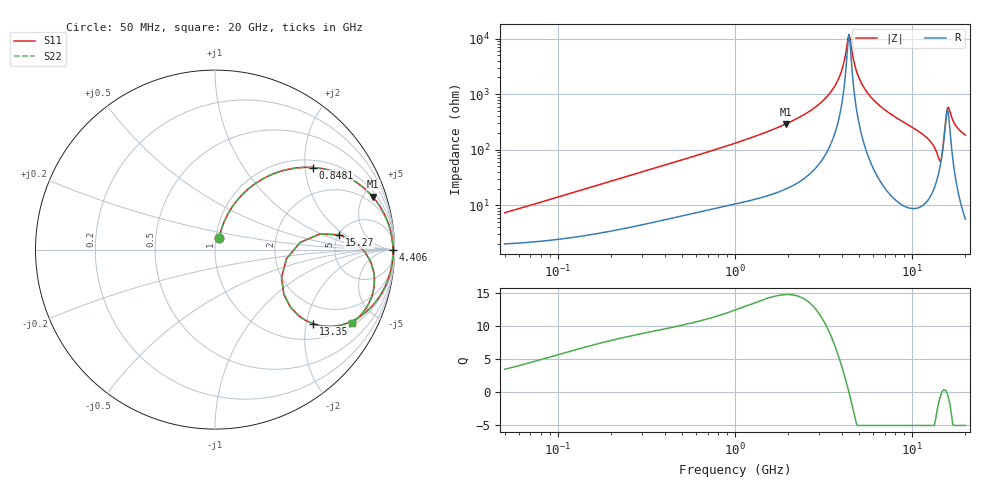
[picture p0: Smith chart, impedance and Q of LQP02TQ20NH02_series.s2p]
!Murata Part Number: LQP02TQ20NH02
!These Parameters are Measured in Series Mode Connection
!  o--[Z]--o
!Port1  Port2
!  o-------o
!Freq. Start=50[MHz] Stop=20[GHz], 401[Steps]
# Hz S RI R 50
!Freq.(Hz) S11(Real) S11(Imag) S21(Real) S21(Imag) S12(Real) S12(Imag) S22(Real) S22(Imag)
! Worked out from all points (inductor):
!   401 points, 50 MHz to 20 GHz, reference 50 ohm
!   read as one part in series: L = 22.3 nH near 51.52 MHz
!   highest Q = 14.8 at 1.933 GHz (marker M1), where L = 23.8 nH
!   self-resonance near 4.34 GHz
!   S11 on the Smith chart (normalised r, x): 50 MHz: 1.04, +0.14; 848.1 MHz: 1.19, +2.20; 4.406 GHz: open; 13.35 GHz: 1.41, -2.19; 15.27 GHz: 5.07, +1.64; 20 GHz: 1.11, -3.67
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5e7  0.0244 0.0673  0.9756 -0.0673  0.9756 -0.0673  0.0244 0.0673
1.364002e8  0.0582 0.1712  0.9418 -0.1712  0.9418 -0.1712  0.0582 0.1712
3.721004e8  0.2184 0.3635  0.7816 -0.3635  0.7816 -0.3635  0.2184 0.3635
8.480927e8  0.5453 0.4573  0.4547 -0.4573  0.4547 -0.4573  0.5453 0.4573
1e9  0.6224 0.4463  0.3776 -0.4463  0.3776 -0.4463  0.6224 0.4463
1.932977e9  0.8781 0.2951  0.1219 -0.2951  0.1219 -0.2951  0.8781 0.2951
2.728004e9  0.9533 0.1764  0.0467 -0.1764  0.0467 -0.1764  0.9533 0.1764
3.736399e9  0.9865 0.0613  0.0135 -0.0613  0.0135 -0.0613  0.9865 0.0613
4.026975e9  0.9899 0.0334  0.0101 -0.0334  0.0101 -0.0334  0.9899 0.0334
4.275624e9  0.9913 0.011  0.00866 -0.011  0.00866 -0.011  0.9913 0.011
4.405649e9  0.9917 -0.000296  0.00834 0.000296  0.00834 0.000296  0.9917 -0.000296
4.89267e9  0.9906 -0.04  0.00938 0.04  0.00938 0.04  0.9906 -0.04
5.273168e9  0.9877 -0.0688  0.0123 0.0688  0.0123 0.0688  0.9877 -0.0688
7.442007e9  0.9475 -0.2061  0.0525 0.2061  0.0525 0.2061  0.9475 -0.2061
1.098561e10  0.804 -0.3757  0.196 0.3757  0.196 0.3757  0.804 -0.3757
1.334722e10  0.5461 -0.4132  0.4539 0.4132  0.4539 0.4132  0.5461 -0.4132
1.438523e10  0.3706 -0.1559  0.6294 0.1559  0.6294 0.1559  0.3706 -0.1559
1.527346e10  0.693 0.0827  0.307 -0.0827  0.307 -0.0827  0.693 0.0827
1.573793e10  0.8355 -0.0124  0.1645 0.0124  0.1645 0.0124  0.8355 -0.0124
1.621653e10  0.8836 -0.1204  0.1164 0.1204  0.1164 0.1204  0.8836 -0.1204
1.774144e10  0.8526 -0.3083  0.1474 0.3083  0.1474 0.3083  0.8526 -0.3083
2e10  0.7643 -0.4094  0.2357 0.4094  0.2357 0.4094  0.7643 -0.4094
